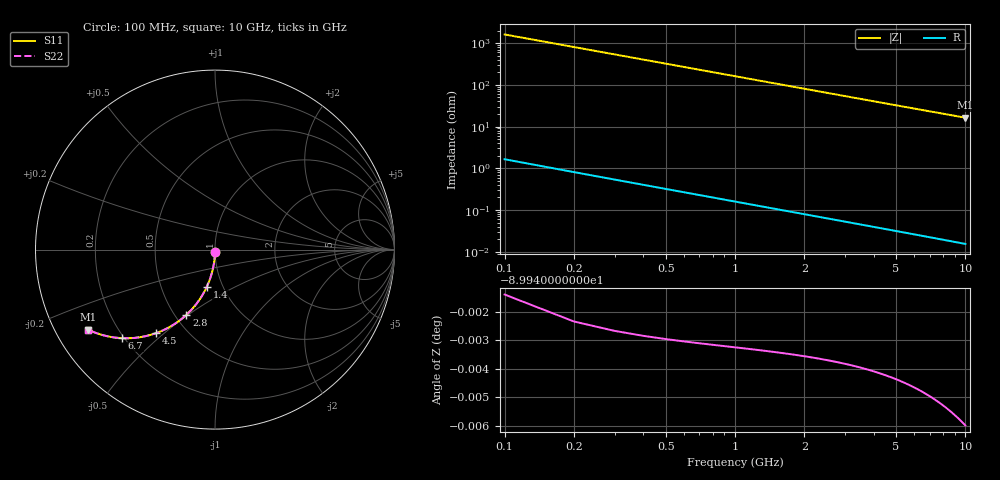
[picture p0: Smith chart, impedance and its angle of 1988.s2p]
# Hz S RI R 50.00
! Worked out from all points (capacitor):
!   100 points, 100 MHz to 10 GHz, reference 50 ohm
!   read as one part in shunt: C = 988 fF near 100 MHz
!   lowest |Z| = 16.3 ohm at 10 GHz (marker M1)
!   S11 on the Smith chart (normalised r, x): 100 MHz: 1.00, -0.03; 1.4 GHz: 0.84, -0.36; 2.8 GHz: 0.57, -0.49; 4.5 GHz: 0.34, -0.47; 6.7 GHz: 0.19, -0.39; 10 GHz: 0.10, -0.29
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1e8  -0.000223 -0.0154  0.9997 -0.0156  0.9997 -0.0156  -0.000223 -0.0154
2e8  -0.000959 -0.0308  0.999 -0.0312  0.999 -0.0312  -0.000959 -0.0308
3e8  -0.00217 -0.0462  0.9978 -0.0467  0.9978 -0.0467  -0.00217 -0.0462
4e8  -0.00386 -0.0615  0.9961 -0.0621  0.9961 -0.0621  -0.00386 -0.0615
5e8  -0.00602 -0.0767  0.9939 -0.0775  0.9939 -0.0775  -0.00602 -0.0767
6e8  -0.00865 -0.0918  0.9913 -0.0928  0.9913 -0.0928  -0.00865 -0.0918
7e8  -0.0117 -0.1067  0.9882 -0.1079  0.9882 -0.1079  -0.0117 -0.1067
9e8  -0.0192 -0.1362  0.9807 -0.1377  0.9807 -0.1377  -0.0192 -0.1362
1.1e9  -0.0284 -0.1648  0.9715 -0.1667  0.9715 -0.1667  -0.0284 -0.1648
1.4e9  -0.0452 -0.2061  0.9547 -0.2085  0.9547 -0.2085  -0.0452 -0.2061
1.8e9  -0.0725 -0.2573  0.9274 -0.2604  0.9274 -0.2604  -0.0725 -0.2573
2.3e9  -0.1131 -0.3143  0.8869 -0.3182  0.8869 -0.3182  -0.1131 -0.3143
2.8e9  -0.1588 -0.3627  0.8411 -0.3674  0.8411 -0.3674  -0.1588 -0.3627
3.4e9  -0.2176 -0.4093  0.7823 -0.4151  0.7823 -0.4151  -0.2176 -0.4093
3.9e9  -0.2678 -0.439  0.7321 -0.4457  0.7321 -0.4457  -0.2678 -0.439
4.5e9  -0.3274 -0.465  0.6725 -0.4726  0.6725 -0.4726  -0.3274 -0.465
5.1e9  -0.3846 -0.4817  0.6153 -0.4904  0.6153 -0.4904  -0.3846 -0.4817
5.9e9  -0.4553 -0.4925  0.5445 -0.5025  0.5445 -0.5025  -0.4553 -0.4925
6.7e9  -0.5187 -0.4934  0.4812 -0.5049  0.4812 -0.5049  -0.5187 -0.4934
7.5e9  -0.5745 -0.4875  0.4254 -0.5003  0.4254 -0.5003  -0.5745 -0.4875
8.4e9  -0.6287 -0.4754  0.3711 -0.4898  0.3711 -0.4898  -0.6287 -0.4754
1e10  -0.7059 -0.4464  0.2939 -0.4637  0.2939 -0.4637  -0.7059 -0.4464
